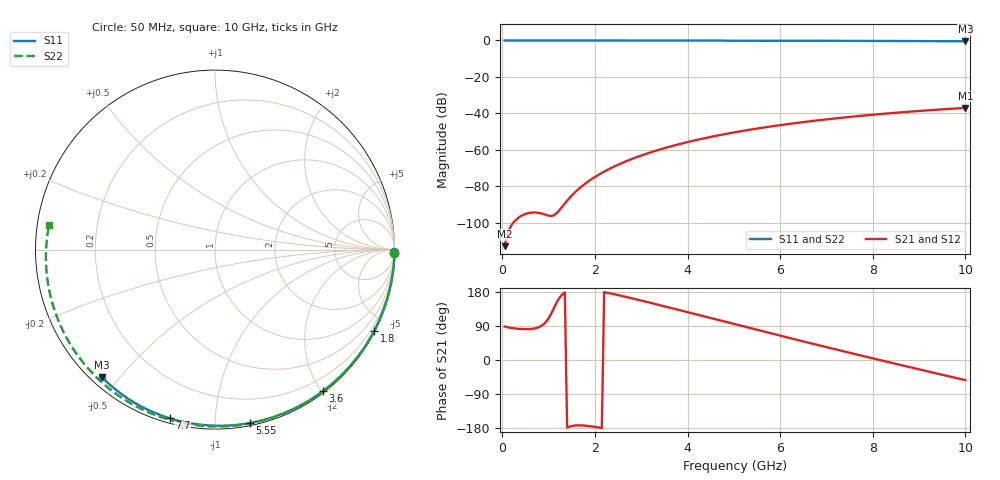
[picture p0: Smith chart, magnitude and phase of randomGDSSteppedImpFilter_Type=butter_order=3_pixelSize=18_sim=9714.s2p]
! freq	dB(S11)	phase(S11)	dB(S12)	phase(S12)
!  dB(S21)	phase(S21)	dB(S22)	phase(S22)
!S-par simulation data
#  GHz  S  DB  R 50
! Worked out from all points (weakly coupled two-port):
!   200 points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, 50 MHz to 10 GHz, reference 50 ohm
!   highest |S21| = -37.03 dB at 10 GHz (marker M1); lowest = -112.9 dB at 50 MHz (marker M2)
!   lowest |S11| = -0.4 dB at 10 GHz (marker M3), VSWR 39.10, Z = 1.54 - j22.5 ohm
!   |S11| at or under -10 dB: nowhere
!   |S22| runs from -0.6 to 0.0 dB; largest |S21 - S12| = 0
!   S11 on the Smith chart (normalised r, x): 50 MHz: open; 1.8 GHz: 0.04, -4.17; 3.6 GHz: 0.02, -2.02; 5.55 GHz: 0.02, -1.22; 7.7 GHz: 0.02, -0.77; 10 GHz: 0.03, -0.45
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0.05  -0.00 -0.8  -112.94 88.3  -112.94 88.3  -0.00 -1.1
0.45  -0.01 -6.8  -95.77 81.5  -95.77 81.5  -0.01 -9.9
0.85  -0.02 -12.9  -95.01 90.5  -95.01 90.5  -0.02 -18.7
1.25  -0.02 -18.8  -92.67 166.5  -92.67 166.5  -0.03 -27.3
1.7  -0.03 -25.5  -80.43 -172.5  -80.43 -172.5  -0.05 -36.9
1.75  -0.03 -26.2  -79.41 -172.8  -79.41 -172.8  -0.05 -38.0
1.8  -0.03 -26.9  -78.44 -173.3  -78.44 -173.3  -0.05 -39.0
2.1  -0.04 -31.3  -73.42 -178.5  -73.42 -178.5  -0.06 -45.3
2.5  -0.05 -37.1  -68.23 171.4  -68.23 171.4  -0.07 -53.5
2.9  -0.06 -42.9  -64.09 159.9  -64.09 159.9  -0.08 -61.6
3.4  -0.07 -49.9  -59.88 144.8  -59.88 144.8  -0.09 -71.5
3.6  -0.07 -52.7  -58.42 138.6  -58.42 138.6  -0.10 -75.4
4.3  -0.09 -62.3  -54.04 116.9  -54.04 116.9  -0.12 -88.6
5.05  -0.11 -72.2  -50.29 93.5  -50.29 93.5  -0.16 -102.3
5.55  -0.13 -78.7  -48.18 78.0  -48.18 78.0  -0.18 -111.2
6.1  -0.15 -85.7  -46.14 61.2  -46.14 61.2  -0.21 -120.8
6.7  -0.18 -93.1  -44.20 43.0  -44.20 43.0  -0.25 -131.0
7.2  -0.21 -99.2  -42.77 28.0  -42.77 28.0  -0.29 -139.5
7.7  -0.24 -105.1  -41.49 13.1  -41.49 13.1  -0.33 -148.0
8.35  -0.29 -112.7  -40.00 -5.9  -40.00 -5.9  -0.39 -159.1
9.2  -0.36 -122.4  -38.34 -30.4  -38.34 -30.4  -0.49 -173.9
10  -0.44 -131.5  -37.03 -53.0  -37.03 -53.0  -0.59 171.5
